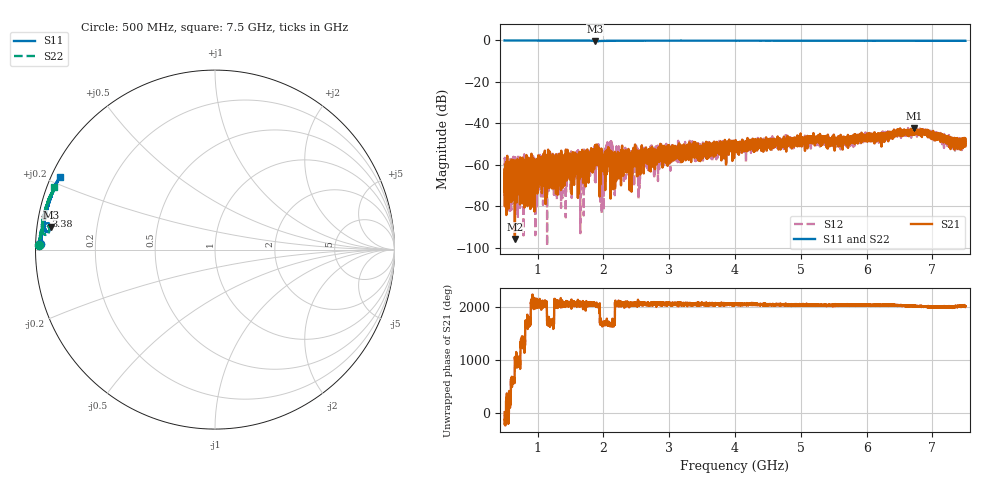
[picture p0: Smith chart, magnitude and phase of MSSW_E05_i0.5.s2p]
!Keysight Technologies,M9374A,MY55442783,A.12.55.05
!Date: Thursday, May 20, 2021 11:28:31
!Correction: S11(Full 2 Port(1,2))
!S21(Full 2 Port(1,2))
!S12(Full 2 Port(1,2))
!S22(Full 2 Port(1,2))
!S2P File: Measurements: S11, S21, S12, S22:
# Hz S  RI  R 50
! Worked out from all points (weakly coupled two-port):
!   7001 points, 500 MHz to 7.5 GHz, reference 50 ohm
!   highest |S21| = -42.43 dB at 6.726 GHz (marker M1); lowest = -95.8 dB at 656 MHz (marker M2)
!   lowest |S11| = -0.7 dB at 1.874 GHz (marker M3), VSWR 24.33, Z = 2.06 + j3.44 ohm
!   |S11| at or under -10 dB: nowhere
!   |S22| runs from -0.6 to -0.2 dB; largest |S21 - S12| = 0.0036
!   S11 on the Smith chart (normalised r, x): 500 MHz: 0.01, +0.02; 3.38 GHz: 0.02, +0.10; 7.5 GHz: 0.02, +0.22
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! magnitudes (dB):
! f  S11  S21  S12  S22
! 500 MHz  -0.2  -72.2  -65.7  -0.2
! 540 MHz  -0.2  -55.7  -62.6  -0.2
! 656 MHz  -0.3  -95.8  -64.6  -0.2
! 727 MHz  -0.3  -66.0  -63.1  -0.2
! 1.667 GHz  -0.3  -54.0  -55.8  -0.2
! 1.874 GHz  -0.7  -52.5  -59.0  -0.6
! 1.919 GHz  -0.6  -54.6  -58.8  -0.5
! 1.98 GHz  -0.4  -59.9  -72.8  -0.4
! 2.087 GHz  -0.4  -54.4  -49.9  -0.3
! 2.18 GHz  -0.4  -63.1  -70.1  -0.3
! 2.225 GHz  -0.4  -57.4  -54.0  -0.3
! 2.409 GHz  -0.3  -60.8  -53.9  -0.3
! 2.492 GHz  -0.4  -54.8  -54.5  -0.3
! 2.542 GHz  -0.4  -58.5  -60.8  -0.3
! 2.601 GHz  -0.3  -57.0  -54.4  -0.3
! 2.834 GHz  -0.3  -54.5  -54.9  -0.2
! 3.38 GHz  -0.3  -49.2  -54.8  -0.2
! 4 GHz  -0.3  -53.8  -54.3  -0.3
! 5.167 GHz  -0.4  -47.8  -49.8  -0.3
! 6.334 GHz  -0.4  -46.7  -44.6  -0.3
! 6.726 GHz  -0.4  -42.4  -43.4  -0.4
! 7.5 GHz  -0.4  -51.1  -47.6  -0.4
